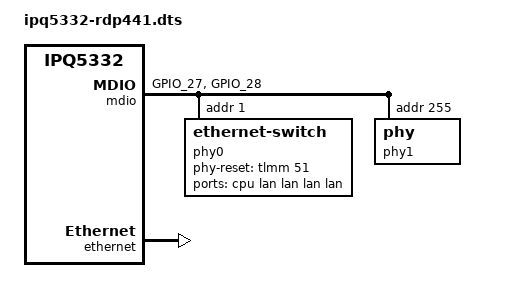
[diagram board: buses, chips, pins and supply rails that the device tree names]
// SPDX-License-Identifier: GPL-2.0-only
/*
* Copyright (c) 2023, Qualcomm Innovation Center, Inc. All rights reserved.
*/

#include "ipq5332-default.dts"

/ {
	config_name = "config@mi01.2", "config@rdp441", "config-rdp441";

	soc: soc {
		tlmm: pinctrl@1000000 {
			mdio_pinmux: mdio {
				mdc {
					pins = "GPIO_27";
					function = "mdc_1";
					drive-strength = <DRIVE_STRENGTH_8MA>;
					bias-disable;
				};

				mdio {
					pins = "GPIO_28";
					function = "mdio_1";
					drive-strength = <DRIVE_STRENGTH_8MA>;
					bias-pull-up;
				};
			};

			phy_rst_pinmux: phy_rst {
				qti_8x8x_rst {
					pins = "GPIO_51";
					drive-strength = <DRIVE_STRENGTH_8MA>;
					bias-pull-up;
				};
			};
		};

		mdio: mdio@90000 {
			pinctrl-names = "default";
			pinctrl-0 = <&mdio_pinmux>;
			status = "okay";

			phy0: ethernet-switch@1 {
				phy-reset-gpio = <&tlmm 51 0>;
				dev-mode = <0x1>;
				reg = <1>;
				phy_id = <10>;
				id = <1>;
				uniphy_id = <0>;
				uniphy_type = <0>;
				max_speed = <2500>;
				force-speed;
				xgmac;
				ports {
					#address-cells = <1>;
					#size-cells = <0>;

					port0: port@0 {
						reg = <0>;
						label = "cpu";
						phy-mode = "sgmii-2500";
						fixed-link {
							speed = <2500>;
							full-duplex;
						};
					};

					port1: port@1 {
						reg = <1>;
						label = "lan";
					};

					port2: port@2 {
						reg = <2>;
						label = "lan";
					};

					port3: port@3 {
						reg = <3>;
						label = "lan";
					};

					port4: port@4 {
						reg = <4>;
						label = "lan";
					};
				};
			};

			phy1: phy@ff {
				reg = <0xFF>;
				phy_id = <5>;
				id = <2>;
				uniphy_id = <1>;
				uniphy_type = <0>;
				max_speed = <10000>;
				xgmac;
			};
		};

		ethernet: nss-switch {
			phy-handle0 = <&phy0>;
			phy-handle1 = <&phy1>;
			status = "okay";
		};
	};
};
